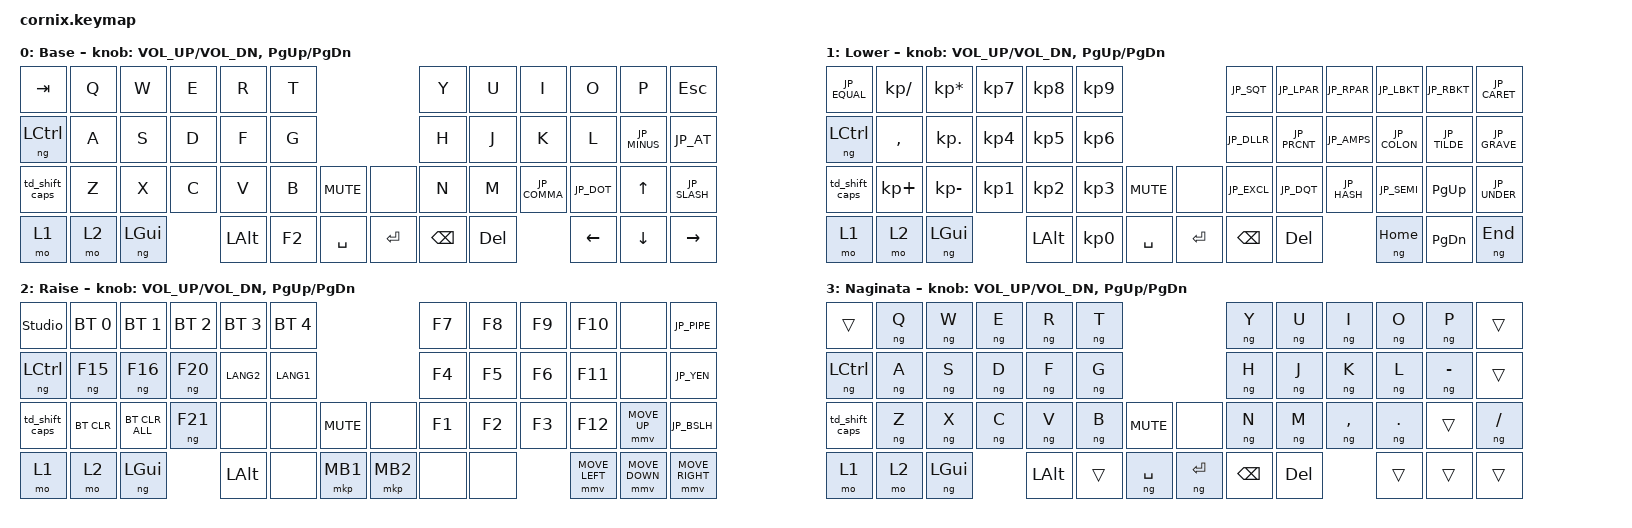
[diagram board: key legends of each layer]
/*
 * Copyright (c) 2020 The ZMK Contributors
 *
 * SPDX-License-Identifier: MIT
 */

#include "zmk-helpers/helper.h"
#include "includes/cornix54.h"
#include "includes/keycode_japanese.h"
#include <behaviors.dtsi>
#include <dt-bindings/zmk/bt.h>
#include <dt-bindings/zmk/keys.h>
#include <dt-bindings/zmk/pointing.h>
#include <dt-bindings/zmk/ext_power.h>
#include <behaviors/naginata.dtsi>

// tap windows for ctl alt and gui

#define HM_TAPPING_TERM 250
#define HM_TAPPING_REPEAT 210

// quick tapping for shift

#define HM_TAPPING_TERM_FAST 200
#define HM_PRIOR_IDLE 70
#define BASE 0
#define LOWER 1
#define RAISE 2
#define NAGINATA 3

// https://github.com/urob/zmk-config/tree/main#timeless-homerow-mods

#define KEYS_L LT0 LT1 LT2 LT3 LT4 LT5 LM0 LM1 LM2 LM3 LM4 LM5 LB0 LB1 LB2 LB3 LB4 LB5  // left hand
#define KEYS_R RT0 RT1 RT2 RT3 RT4 RT5 RM0 RM1 RM2 RM3 RM4 RM5 RB0 RB1 RB2 RB3 RB4 RB5  // right hand
#define THUMBS LH1 LH0 RH0 RH1
#define KEYS_T LH1 LH0 RH0 RH1
#define ZMK_POINTING_DEFAULT_SCRL_VAL 10

/ {
    // Activate ADJUST layer by pressing raise and lower

    macros {
        ng_on: ng_on {
            compatible = "zmk,behavior-macro";
            #binding-cells = <0>;
            bindings
                = <&macro_tap &kp LANGUAGE_1 &kp INTERNATIONAL_4 &to 3>
                ;
        };
        ng_off: ng_off {
            compatible = "zmk,behavior-macro";
            #binding-cells = <0>;
            bindings
                = <&macro_tap &kp LANGUAGE_2 &kp INTERNATIONAL_5 &to 0>
                ;
        };
    };

    behaviors {
        td_shift_caps: tap_dance {
            compatible = "zmk,behavior-tap-dance";
            // '#binding-cells' is required by zmk,behavior-tap-dance binding.
            #binding-cells = <0>;
            // Double-tap detection time. Adjust between 180 and 250 ms to your preference.
            tapping-term-ms = <200>;
            // 1 tap (including hold) = Shift, 2 taps = CapsLock
            bindings = <&kp LSHFT>, <&kp CAPSLOCK>;
        };
        hm_l: homerow_mods_left {
            compatible = "zmk,behavior-hold-tap";
            #binding-cells = <2>;
            bindings = <&kp>, <&kp>;

            flavor = "balanced";
            tapping-term-ms = <HM_TAPPING_TERM>;
            quick-tap-ms = <200>;                // repeat on tap-into-hold
            require-prior-idle-ms = <HM_PRIOR_IDLE>;
            hold-trigger-key-positions = <KEYS_R KEYS_T>;
            hold-trigger-on-release;
        };

        hm_r: homerow_mods_right {
            compatible = "zmk,behavior-hold-tap";
            #binding-cells = <2>;
            bindings = <&kp>, <&kp>;

            flavor = "balanced";
            tapping-term-ms = <HM_TAPPING_TERM>;
            quick-tap-ms = <200>;
            require-prior-idle-ms = <HM_PRIOR_IDLE>;
            hold-trigger-key-positions = <KEYS_L KEYS_T>;
            hold-trigger-on-release;
        };

        // Positional Homerow mods for shift
        // Use faster tapping term and disable some features that may
        // cause false negatives.

        hm_shift_l: hm_shift_l {
            compatible = "zmk,behavior-hold-tap";
            #binding-cells = <2>;
            bindings = <&kp>, <&kp>;

            //flavor = "balanced";

            flavor = "balanced";
            tapping-term-ms = <HM_TAPPING_TERM_FAST>;
            quick-tap-ms = <200>;
            require-prior-idle-ms = <HM_PRIOR_IDLE>;
            hold-trigger-key-positions = <KEYS_R KEYS_T>;
            hold-trigger-on-release;
        };

        hm_shift_r: hm_shift_r {
            compatible = "zmk,behavior-hold-tap";
            #binding-cells = <2>;
            bindings = <&kp>, <&kp>;

            flavor = "balanced";
            tapping-term-ms = <HM_TAPPING_TERM_FAST>;
            quick-tap-ms = <200>;
            require-prior-idle-ms = <HM_PRIOR_IDLE>;
            hold-trigger-key-positions = <KEYS_L KEYS_T>;

            // for quick tapping; shift+~

            hold-trigger-on-release;
        };

        /*
         * Non-Positional Homerow Mods
         * Used for &mm_grescm_gui behavior on left hand.
         *
         * Usage: &hm LSHFT T
         * Tap: T
         * Tap-Tap-Hold: Repeat T
         * Hold: LSHIFT
         */

        hm: homerow_mods {
            compatible = "zmk,behavior-hold-tap";
            #binding-cells = <2>;
            bindings = <&kp>, <&kp>;

            flavor = "balanced";
            tapping-term-ms = <HM_TAPPING_TERM>;
            quick-tap-ms = <200>;
        };

        lt: layer_tap {
            compatible = "zmk,behavior-hold-tap";
            #binding-cells = <2>;
            bindings = <&mo>, <&kp>;

            flavor = "hold-preferred";
            tapping-term-ms = <HM_TAPPING_TERM>;
            quick-tap-ms = <200>;
        };
    };

    combos {
        compatible = "zmk,combos";

        combo_ng_on {
            timeout-ms = <300>;
            key-positions = <18 19>; // H, J
            bindings = <&ng_on>;
            layers = <0>;
        };
        combo_ng_off {
            timeout-ms = <300>;
            key-positions = <16 17>; // F, G
            bindings = <&ng_off>;
            layers = <0 3>;
        };
    };

    keymap {
        compatible = "zmk,keymap";

        default_layer {
            display-name = "Base";

            // -----------------------------------------------------  -------------------------------------------------------
            // | TAB   |  Q     |  W  |  E   |  R   |  T   |                   |  Y    |  U    |  I    |  O   |   P   |  ESC |
            // | CTRL  |  A     |  S  |  D   |  F   |  G   |                   |  H    |  J    |  K    |  L   |   -   |  @   |
            // | SHIFT |  Z     |  X  |  C   |  V   |  B   |  MUTE  |  |       |  N    |  M    |  ,    |  .   |   ↑   |  /   |
            // | MO(1) |  MO(2) | GUI |      | ALT  |  F2  |  SPACE |  | ENTER |  BSPC |  DEL  |       |  ←   |   ↓   |  →   |

            bindings = <
&kp TAB         &kp Q   &kp W     &kp E  &kp R     &kp T                          &kp Y      &kp U    &kp I         &kp O       &kp P         &kp ESC
&ng LCTRL       &kp A   &kp S     &kp D  &kp F     &kp G                          &kp H      &kp J    &kp K         &kp L       &kp JP_MINUS  &kp JP_AT
&td_shift_caps  &kp Z   &kp X     &kp C  &kp V     &kp B   &kp C_MUTE  &none      &kp N      &kp M    &kp JP_COMMA  &kp JP_DOT  &kp UP        &kp JP_SLASH
&mo 1           &mo 2   &ng LGUI         &kp LALT  &kp F2  &kp SPACE   &kp ENTER  &kp BSPC   &kp DEL                &kp LEFT    &kp DOWN      &kp RIGHT
            >;
            sensor-bindings = <&inc_dec_kp C_VOL_UP C_VOL_DN &inc_dec_kp PG_UP PG_DN>;
        };

        Lower_layer {
            display-name = "Lower";

            // -----------------------------------------------------  ----------------------------------------------------------
            // | =     |  /     |  *  |  7   |  8   |  9   |                   |  '    |  (    |  )    |  [    |   ]     |  ^   |
            // | CTRL  |  ,     |  .  |  4   |  5   |  6   |                   |  $    |  %    |  &    |  :    |   ~     |  `   |
            // | SHIFT |  +     |  -  |  1   |  2   |  3   |  MUTE  |  |       |  !    |  "    |  #    |  ;    |   PG_UP |  _   |
            // | MO(1) |  MO(2) | GUI |      | ALT  |  0   |  SPACE |  | ENTER |  BSPC |  DEL  |       |  HOME*|   PG_DN |  END*|

            bindings = <
&kp JP_EQUAL     &kp KP_SLASH  &kp KP_ASTERISK  &kp KP_N7  &kp KP_N8  &kp KP_N9                         &kp JP_SQT   &kp JP_LPAR   &kp JP_RPAR   &kp JP_LBKT   &kp JP_RBKT   &kp JP_CARET
&ng LCTRL        &kp COMMA     &kp KP_DOT       &kp KP_N4  &kp KP_N5  &kp KP_N6                         &kp JP_DLLR  &kp JP_PRCNT  &kp JP_AMPS   &kp JP_COLON  &kp JP_TILDE  &kp JP_GRAVE
&td_shift_caps   &kp KP_PLUS   &kp KP_MINUS     &kp KP_N1  &kp KP_N2  &kp KP_N3  &kp C_MUTE  &none      &kp JP_EXCL  &kp JP_DQT    &kp JP_HASH   &kp JP_SEMI   &kp PG_UP     &kp JP_UNDER
&mo 1            &mo 2         &ng LGUI                 &kp LALT   &kp KP_N0  &kp SPACE   &kp ENTER  &kp BSPC     &kp DEL                     &ng HOME      &kp PG_DN     &ng END
            >;
            sensor-bindings = <&inc_dec_kp C_VOL_UP C_VOL_DN &inc_dec_kp PG_UP PG_DN>;
        };

        Raise_layer {
            display-name = "Raise";

            // -------------------------------------------------------------------------  --------------------------------------------------------------------
            // | Unlock  |  BT0      |  BT1         |  BT2  |  BT3   |  BT4   |                       |  F7   |  F8   |  F9   |  F10     |         |  |         |
            // | CTRL    |  F15      |  F16         |  F20  |  LANG2 |  LANG1 |                       |  F4   |  F5   |  F6   |  F11     |         |  ¥         |
            // | SHIFT   |  Clear BT |  Clear Peer  |  F21  |        |        |  MUTE    |  |         |  F1   |  F2   |  F3   |  F12     |   MS_UP |  BackSlash |
            // | MO(1)   |  MO(2)    |  GUI         |       |  ALT   |        |  Mouse 1 |  | Mouse 2 |       |       |       |  MS_LEFT |   MS_DN |  MS_RIGHT  |

            bindings = <
&studio_unlock  &bt BT_SEL 0  &bt BT_SEL 1    &bt BT_SEL 2  &bt BT_SEL 3  &bt BT_SEL 4                        &kp F7  &kp F8  &kp F9  &kp F10         &none           &kp JP_PIPE
&ng LCTRL       &ng F15       &ng F16         &ng F20       &kp LANG2     &kp LANG1                           &kp F4  &kp F5  &kp F6  &kp F11         &none           &kp JP_YEN
&td_shift_caps  &bt BT_CLR    &bt BT_CLR_ALL  &ng F21       &none         &none         &kp C_MUTE  &none     &kp F1  &kp F2  &kp F3  &kp F12         &mmv MOVE_UP    &kp JP_BSLH
&mo 1           &mo 2         &ng LGUI                      &kp LALT      &none         &mkp MB1    &mkp MB2  &none   &none           &mmv MOVE_LEFT  &mmv MOVE_DOWN  &mmv MOVE_RIGHT
            >;
            sensor-bindings = <&inc_dec_kp C_VOL_UP C_VOL_DN &inc_dec_kp PG_UP PG_DN>;
        };

        naginata_layer {
            display-name = "Naginata";

            // Naginata input layer - 31 keys using &ng behavior
            // Same layout as default layer but with &ng bindings
            // Note: Arrow keys are set to &trans so that holding MO(1) (Lower)
            // will surface HOME/END/PG_UP/PG_DN from Layer 1.

            bindings = <
&trans          &ng Q  &ng W     &ng E  &ng R     &ng T                             &ng Y     &ng U    &ng I      &ng O     &ng P     &trans
&ng LCTRL       &ng A  &ng S     &ng D  &ng F     &ng G                             &ng H     &ng J    &ng K      &ng L     &ng MINUS &trans
&td_shift_caps  &ng Z  &ng X     &ng C  &ng V     &ng B      &kp C_MUTE  &none      &ng N     &ng M    &ng COMMA  &ng DOT   &trans    &ng FSLH
&mo 1           &mo 2  &ng LGUI         &kp LALT  &trans     &ng SPACE   &ng ENTER  &kp BSPC  &kp DEL             &trans    &trans    &trans
            >;
            sensor-bindings = <&inc_dec_kp C_VOL_UP C_VOL_DN &inc_dec_kp PG_UP PG_DN>;
        };

        // Extra layers reserved for ZMK Studio use
        extra1 {
            status = "reserved";
        };
        extra2 {
            status = "reserved";
        };
    };
};
